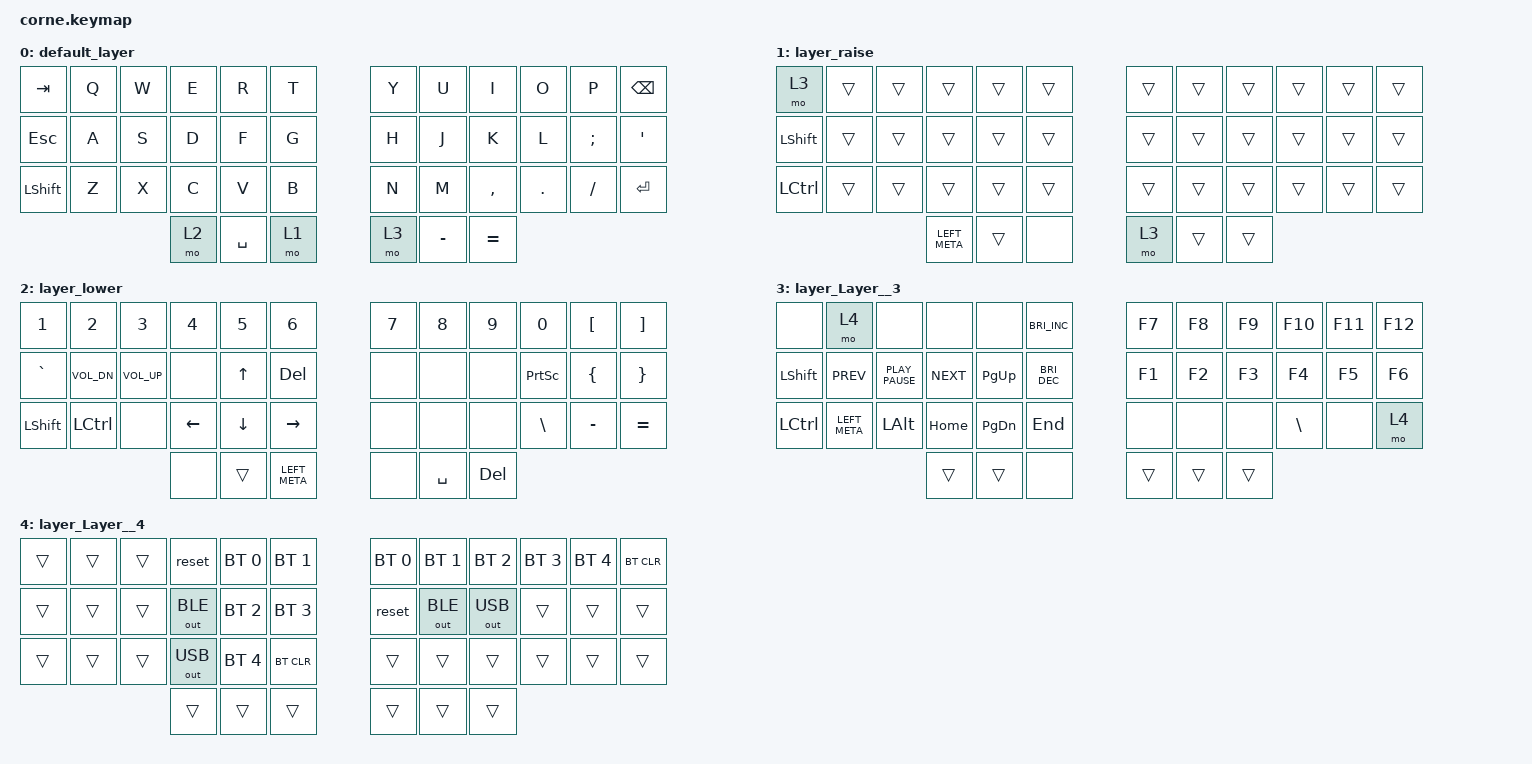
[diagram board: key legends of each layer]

/*
 * Copyright (c) 2020 The ZMK Contributors
 *
 * SPDX-License-Identifier: MIT
 */


/* THIS FILE WAS GENERATED!
 *
 * This file was generated automatically. You may or may not want to
 * edit it directly.
 */

#include <behaviors.dtsi>
#include <dt-bindings/zmk/keys.h>
#include <dt-bindings/zmk/bt.h>
#include <dt-bindings/zmk/outputs.h>

/ {
    keymap {
        compatible = "zmk,keymap";


        default_layer {
            bindings = <
   &kp TAB   &kp Q   &kp W   &kp E      &kp R   &kp T           &kp Y      &kp U      &kp I    &kp O     &kp P  &kp BACKSPACE
   &kp ESC   &kp A   &kp S   &kp D      &kp F   &kp G           &kp H      &kp J      &kp K    &kp L  &kp SEMI       &kp APOS
 &kp LSHFT   &kp Z   &kp X   &kp C      &kp V   &kp B           &kp N      &kp M  &kp COMMA  &kp DOT  &kp FSLH      &kp ENTER
                             &mo 2  &kp SPACE   &mo 1           &mo 3  &kp MINUS  &kp EQUAL
            >;
        };

        layer_raise {
            bindings = <
      &mo 3  &trans  &trans         &trans  &trans  &trans          &trans  &trans  &trans  &trans  &trans  &trans
 &kp LSHIFT  &trans  &trans         &trans  &trans  &trans          &trans  &trans  &trans  &trans  &trans  &trans
  &kp LCTRL  &trans  &trans         &trans  &trans  &trans          &trans  &trans  &trans  &trans  &trans  &trans
                             &kp LEFT_META  &trans   &none           &mo 3  &trans  &trans
            >;
        };

        layer_lower {
            bindings = <
         &kp N1            &kp N2        &kp N3          &kp N4          &kp N5           &kp N6          &kp N7     &kp N8   &kp N9           &kp N0  &kp LEFT_BRACKET  &kp RIGHT_BRACKET
      &kp GRAVE      &kp K_VOL_DN  &kp K_VOL_UP           &none    &kp UP_ARROW       &kp DELETE           &none      &none    &none  &kp PRINTSCREEN    &kp LEFT_BRACE    &kp RIGHT_BRACE
 &kp LEFT_SHIFT  &kp LEFT_CONTROL         &none  &kp LEFT_ARROW  &kp DOWN_ARROW  &kp RIGHT_ARROW           &none      &none    &none    &kp BACKSLASH         &kp MINUS          &kp EQUAL
                                                          &none          &trans    &kp LEFT_META           &none  &kp SPACE  &kp DEL
            >;
        };

        layer_Layer__3 {
            bindings = <
            &none          &mo 4             &none       &none      &none  &kp C_BRIGHTNESS_INC          &kp F7  &kp F8  &kp F9        &kp F10  &kp F11  &kp F12
   &kp LEFT_SHIFT     &kp K_PREV  &kp K_PLAY_PAUSE  &kp K_NEXT  &kp PG_UP  &kp C_BRIGHTNESS_DEC          &kp F1  &kp F2  &kp F3         &kp F4   &kp F5   &kp F6
 &kp LEFT_CONTROL  &kp LEFT_META      &kp LEFT_ALT    &kp HOME  &kp PG_DN               &kp END           &none   &none   &none  &kp BACKSLASH    &none    &mo 4
                                                        &trans     &trans                 &none          &trans  &trans  &trans
            >;
        };

        layer_Layer__4 {
            bindings = <
 &trans  &trans  &trans        &reset  &bt BT_SEL 0  &bt BT_SEL 1          &bt BT_SEL 0  &bt BT_SEL 1  &bt BT_SEL 2  &bt BT_SEL 3  &bt BT_SEL 4  &bt BT_CLR
 &trans  &trans  &trans  &out OUT_BLE  &bt BT_SEL 2  &bt BT_SEL 3                &reset  &out OUT_BLE  &out OUT_USB        &trans        &trans      &trans
 &trans  &trans  &trans  &out OUT_USB  &bt BT_SEL 4    &bt BT_CLR                &trans        &trans        &trans        &trans        &trans      &trans
                               &trans        &trans        &trans                &trans        &trans        &trans
            >;
        };

    };
};
